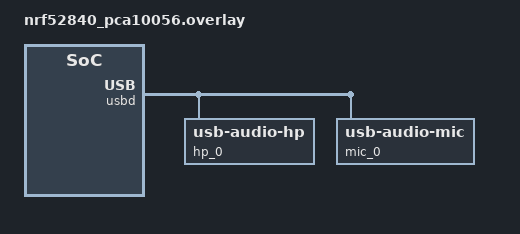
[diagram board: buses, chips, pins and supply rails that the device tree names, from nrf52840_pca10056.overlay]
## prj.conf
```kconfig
CONFIG_STDOUT_CONSOLE=y

#USB related configs
CONFIG_USB=y
CONFIG_USB_DEVICE_STACK=y
CONFIG_USB_DEVICE_PRODUCT="Zephyr USB audio sample"

#LOG subsystem related configs
CONFIG_LOG=y
CONFIG_LOG_DEFAULT_LEVEL=4
CONFIG_LOG_BUFFER_SIZE=8192
CONFIG_USB_DRIVER_LOG_LEVEL_ERR=y
CONFIG_USB_DEVICE_LOG_LEVEL_ERR=y
CONFIG_USB_AUDIO_LOG_LEVEL_ERR=y

#net buf options
CONFIG_NET_BUF=y
CONFIG_NET_BUF_USER_DATA_SIZE=4

#USB audio related configs
CONFIG_USB_DEVICE_AUDIO=y
CONFIG_USB_AUDIO_HEADPHONES_DEVICE_COUNT=1
CONFIG_USB_AUDIO_MICROPHONE_DEVICE_COUNT=1
```

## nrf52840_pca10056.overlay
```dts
/*
 * Copyright (c) 2019 Nordic Semiconductor ASA
 *
 * SPDX-License-Identifier: Apache-2.0
 */

&usbd {
	hp_0 {
		compatible = "usb-audio-hp";
		feature-mute;
		channel-l;
		channel-r;
		resolution = <16>;
		ep-addr = <0x08>;
	};
	mic_0 {
		compatible = "usb-audio-mic";
		feature-mute;
		channel-l;
		channel-r;
		ep-addr = <0x88>;
	};
};
```

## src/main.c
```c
/*
 * Copyright (c) 2020 Nordic Semiconductor ASA
 *
 * SPDX-License-Identifier: Apache-2.0
 */

/**
 * @file
 * @brief Sample app for Audio class
 */

#include <zephyr.h>
#include <logging/log.h>
#include <usb/usb_device.h>
#include <usb/class/usb_audio.h>

LOG_MODULE_REGISTER(main, LOG_LEVEL_INF);

/* This must be global to be able to send data in receive callback
 * from headphones.
 */
struct device *mic_dev;

static void data_received(const struct device *dev,
			  struct net_buf *buffer,
			  size_t size)
{
	int ret;

	if (!buffer || !size) {
		/* This should never happen */
		return;
	}

	LOG_DBG("Received %d data, unref %p", size, buffer);

	ret = usb_audio_send(mic_dev, buffer, size);
	if (ret) {
		net_buf_unref(buffer);
	}
}

static void feature_update(struct feature_unit_evt evt)
{
	LOG_DBG("Control selector %d for channel %d updated",
		evt.cs, evt.channel);
	switch (evt.cs) {
	case MUTE_CONTROL:
	default:
		break;
	}
}

static const struct audio_ops ops = {
	.data_received_cb = data_received,
	.feature_update_cb = feature_update,
};

void main(void)
{
	struct device *hp_dev = device_get_binding("AUDIO_HP_0");
	int ret;

	mic_dev = device_get_binding("AUDIO_MIC_0");

	if (!hp_dev) {
		LOG_ERR("Can not get USB Headphones Device");
		return;
	}

	if (!mic_dev) {
		LOG_ERR("Can not get USB Microphone Device");
		return;
	}

	usb_audio_register(hp_dev, &ops);

	usb_audio_register(mic_dev, &ops);

	ret = usb_enable(NULL);
	if (ret != 0) {
		LOG_ERR("Failed to enable USB");
		return;
	}

	LOG_INF("Entered %s", __func__);
}
```
